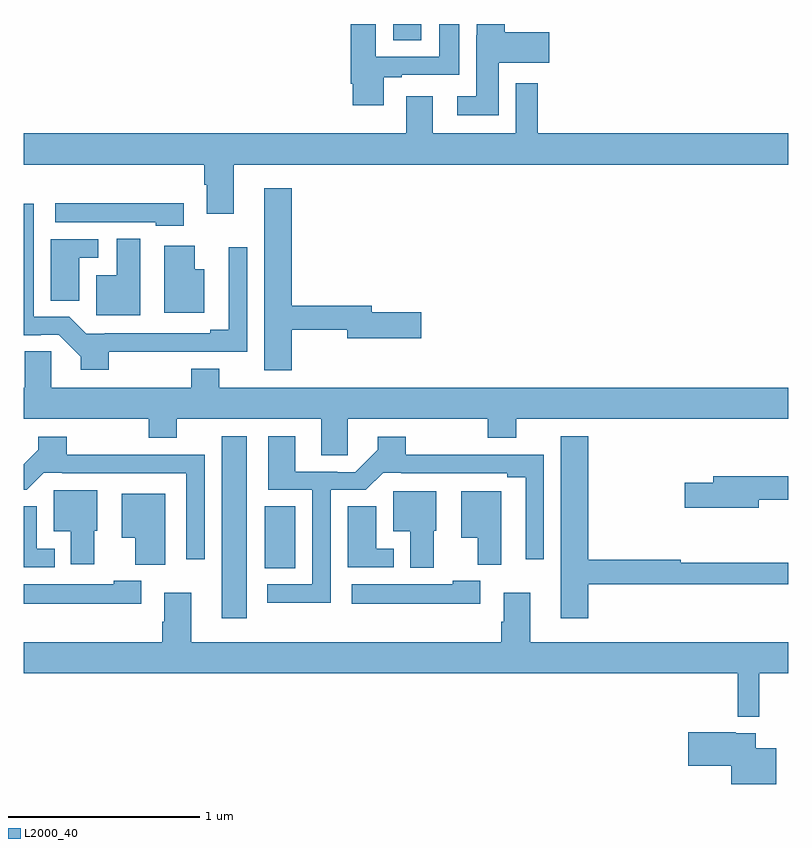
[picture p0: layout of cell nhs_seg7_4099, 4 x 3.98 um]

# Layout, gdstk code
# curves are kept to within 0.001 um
import gdstk
lib = gdstk.Library(unit=1e-6, precision=1e-09)
def R(c, l, rs):  # rectangles x0, y0, x1, y1
    for r in rs: c.add(gdstk.rectangle(r[:2], r[2:], *l))
def P(c, l, *ps):  # polygons
    for p in ps: c.add(gdstk.Polygon(p, *l))
L2000_40 = (2000, 40)

nhs_seg7_4099 = lib.new_cell('nhs_seg7_4099')
R(nhs_seg7_4099, L2000_40, [(372.035,1016.889,372.166,1017.841), (372.26,1017.151,372.421,1017.476), (372.932,1019.914,373.081,1020)])
P(nhs_seg7_4099, L2000_40, [(373.486,1019.798),(373.75,1019.798),(373.75,1019.956),(373.517,1019.956),(373.517,1020),(373.371,1020),(373.371,1019.942),(373.367,1019.942),(373.367,1019.623),(373.269,1019.623),(373.269,1019.522),(373.486,1019.522)],
  [(372.883,1019.721),(372.979,1019.721),(372.979,1019.733),(373.279,1019.733),(373.279,1020),(373.175,1020),(373.175,1019.829),(372.841,1019.829),(372.841,1020),(372.71,1020),(372.71,1019.686),(372.722,1019.686),(372.722,1019.574),(372.883,1019.574)],
  [(372.097,1019.264),(375,1019.264),(375,1019.428),(373.691,1019.428),(373.691,1019.689),(373.575,1019.689),(373.575,1019.428),(373.141,1019.428),(373.141,1019.623),(373.001,1019.623),(373.001,1019.428),(371,1019.428),(371,1019.264),(371.945,1019.264),(371.945,1019.158),(371.957,1019.158),(371.957,1019.007),(372.097,1019.007)],
  [(372.401,1018.398),(372.692,1018.398),(372.692,1018.355),(373.081,1018.355),(373.081,1018.49),(372.82,1018.49),(372.82,1018.526),(372.401,1018.526),(372.401,1019.14),(372.257,1019.14),(372.257,1018.188),(372.401,1018.188)],
  [(371.836,1019.062),(371.163,1019.062),(371.163,1018.961),(371.691,1018.961),(371.691,1018.943),(371.836,1018.943)],
  [(371.445,1018.283),(372.168,1018.284),(372.168,1018.831),(372.072,1018.831),(372.072,1018.4),(371.975,1018.4),(371.975,1018.38),(371.422,1018.38),(371.422,1018.377),(371.326,1018.377),(371.236,1018.467),(371.052,1018.467),(371.052,1019.06),(371,1019.06),(371,1018.371),(371.087,1018.371),(371.087,1018.374),(371.181,1018.374),(371.297,1018.258),(371.297,1018.19),(371.445,1018.19)],
  [(371.608,1018.876),(371.486,1018.876),(371.486,1018.684),(371.378,1018.684),(371.378,1018.475),(371.608,1018.475)],
  [(371.29,1018.776),(371.389,1018.776),(371.389,1018.872),(371.141,1018.872),(371.141,1018.552),(371.29,1018.552)],
  [(371.944,1018.717),(371.893,1018.717),(371.893,1018.84),(371.735,1018.84),(371.735,1018.487),(371.944,1018.487)],
  [(372.696,1017.932),(373.429,1017.932),(373.429,1017.833),(373.576,1017.833),(373.576,1017.932),(375,1017.932),(375,1018.096),(372.022,1018.096),(372.022,1018.195),(371.875,1018.195),(371.875,1018.096),(371.142,1018.096),(371.142,1018.286),(371.003,1018.286),(371.003,1018.096),(371,1018.096),(371,1017.932),(371.653,1017.932),(371.653,1017.833),(371.8,1017.833),(371.8,1017.932),(372.557,1017.932),(372.557,1017.742),(372.696,1017.742)],
  [(373.955,1017.066),(375,1017.066),(375,1017.179),(374.438,1017.179),(374.438,1017.194),(373.955,1017.194),(373.955,1017.841),(373.811,1017.841),(373.811,1016.889),(373.955,1016.889)],
  [(372.606,1017.561),(372.79,1017.561),(372.88,1017.651),(372.976,1017.651),(372.976,1017.648),(373.529,1017.648),(373.529,1017.628),(373.626,1017.628),(373.626,1017.198),(373.722,1017.198),(373.722,1017.744),(373.34,1017.744),(373.34,1017.746),(372.999,1017.746),(372.999,1017.838),(372.851,1017.838),(372.851,1017.77),(372.735,1017.654),(372.641,1017.654),(372.641,1017.657),(372.421,1017.657),(372.421,1017.841),(372.278,1017.841),(372.278,1017.561),(372.51,1017.561),(372.51,1017.066),(372.273,1017.066),(372.273,1016.969),(372.606,1016.969)],
  [(371.946,1017.744),(371.564,1017.744),(371.564,1017.746),(371.223,1017.746),(371.223,1017.838),(371.075,1017.838),(371.075,1017.77),(371,1017.695),(371,1017.561),(371.014,1017.561),(371.104,1017.651),(371.2,1017.651),(371.2,1017.648),(371.849,1017.648),(371.85,1017.198),(371.946,1017.198)],
  [(374.848,1017.51),(375,1017.51),(375,1017.631),(374.609,1017.631),(374.609,1017.597),(374.46,1017.597),(374.46,1017.467),(374.848,1017.467)],
  [(371.368,1017.348),(371.383,1017.348),(371.383,1017.559),(371.156,1017.559),(371.156,1017.344),(371.246,1017.344),(371.246,1017.171),(371.368,1017.171)],
  [(373.144,1017.348),(373.159,1017.348),(373.159,1017.553),(372.932,1017.553),(372.932,1017.344),(373.022,1017.344),(373.022,1017.152),(373.144,1017.152)],
  [(373.498,1017.553),(373.289,1017.553),(373.289,1017.311),(373.376,1017.311),(373.376,1017.17),(373.498,1017.17)],
  [(371.74,1017.541),(371.513,1017.541),(371.513,1017.311),(371.582,1017.311),(371.582,1017.17),(371.74,1017.17)],
  [(372.937,1017.252),(372.844,1017.252),(372.844,1017.476),(372.695,1017.476),(372.695,1017.156),(372.937,1017.156)],
  [(371.161,1017.252),(371.068,1017.252),(371.068,1017.476),(371,1017.476),(371,1017.156),(371.161,1017.156)],
  [(371.614,1017.085),(371.469,1017.085),(371.469,1017.067),(371,1017.067),(371,1016.966),(371.614,1016.966)],
  [(373.39,1017.085),(373.245,1017.085),(373.245,1017.067),(372.717,1017.067),(372.717,1016.966),(373.39,1016.966)],
  [(374.849,1016.6),(375,1016.6),(375,1016.764),(373.651,1016.764),(373.651,1017.022),(373.511,1017.022),(373.511,1016.87),(373.499,1016.87),(373.499,1016.764),(371.875,1016.764),(371.875,1017.022),(371.735,1017.022),(371.735,1016.87),(371.723,1016.87),(371.723,1016.764),(371,1016.764),(371,1016.6),(374.736,1016.6),(374.736,1016.372),(374.849,1016.372)],
  [(374.938,1016.209),(374.83,1016.209),(374.83,1016.287),(374.726,1016.287),(374.726,1016.292),(374.478,1016.292),(374.478,1016.117),(374.702,1016.117),(374.702,1016.021),(374.938,1016.021)])

lib.write_gds('nhs_seg7_4099.gds')
